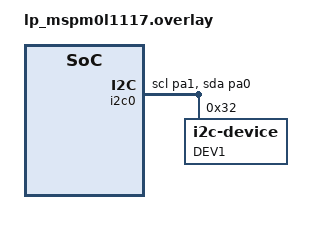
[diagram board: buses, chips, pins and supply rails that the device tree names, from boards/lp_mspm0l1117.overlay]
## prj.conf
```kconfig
# nothing here
CONFIG_I2C=y
CONFIG_GPIO=y
#CONFIG_I2C_CONTROLLER_TIMEOUT=y
```

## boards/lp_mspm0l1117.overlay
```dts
/ {
	aliases {
		i2c-0 = &i2c0;
		dev-1 = &dev1;
	};
};

&i2c0 {
	pinctrl-0 = <&i2c0_scl_pa1 &i2c0_sda_pa0>;
	pinctrl-names = "default";
	status = "okay";
	dev1: dev1@32 {
		compatible = "i2c-device";
		reg = <0x32>;
		label = "DEV1";
	};
};
```

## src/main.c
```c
/*
 * Copyright (c) 2012-2014 Wind River Systems, Inc.
 *
 * SPDX-License-Identifier: Apache-2.0
 */

#include <stdio.h>
#include <zephyr/drivers/i2c.h>
#include <zephyr/drivers/gpio.h>

uint8_t txPacket[] = {0xA0, 0xA1, 0xA2, 0xA3, 0xA4, 0xA5};
uint8_t rxPacket[6];
struct k_sem i2c_controller_sem;


#define SW0_NODE	DT_ALIAS(sw0)
#define I2C_NODE	DT_ALIAS(i2c_0)
#define DEV_1_NODE	DT_NODELABEL(dev1)
#define SLEEP_INTERVAL_MS 1


#if !DT_NODE_HAS_STATUS(SW0_NODE, okay)
#error "Unsupported board: sw0 devicetree alias is not defined"
#endif
static const struct gpio_dt_spec button = GPIO_DT_SPEC_GET_OR(SW0_NODE, gpios,
							      {0});
static struct gpio_callback button_cb_data;

void button_pressed(const struct device *dev, struct gpio_callback *cb,
		    uint32_t pins)
{
	printk("Button pressed at %" PRIu32 "\n", k_cycle_get_32());
	k_sem_give(&i2c_controller_sem);
}


struct i2c_msg msg_0 = {
	.buf = txPacket,
	.len = 1,
	.flags = I2C_MSG_WRITE
};

struct i2c_msg msg_1 = {
	.buf = &txPacket[1],
	.len = 3,
	.flags = I2C_MSG_WRITE
};

struct i2c_msg msg_2 = {
	.buf = rxPacket,
	.len = 1,
	.flags = I2C_MSG_READ
};

struct i2c_msg msg_3 = {
	.buf = &rxPacket[1],
	.len = 4,
	.flags = I2C_MSG_READ
};

#define LED0_NODE DT_ALIAS(led0)

static const struct i2c_dt_spec dev_1 = I2C_DT_SPEC_GET(DEV_1_NODE);
static const struct gpio_dt_spec led = GPIO_DT_SPEC_GET(LED0_NODE, gpios);


int main(void)
{
	int ret;
	printf("Hello TI! %s\n", CONFIG_BOARD_TARGET);

	k_sem_init(&i2c_controller_sem, 1, 1);

	if (!gpio_is_ready_dt(&led)) {
		return 0;
	}

	gpio_pin_configure_dt(&led, GPIO_OUTPUT_ACTIVE);

	if (!gpio_is_ready_dt(&button)) {
		printk("Error: button device %s is not ready\n",
		       button.port->name);
		return 0;
	}

	ret = gpio_pin_configure_dt(&button, GPIO_INPUT);
	if (ret != 0) {
		printk("Error %d: failed to configure %s pin %d\n",
		       ret, button.port->name, button.pin);
		return 0;
	}

	ret = gpio_pin_interrupt_configure_dt(&button,
					      GPIO_INT_EDGE_TO_ACTIVE);
	if (ret != 0) {
		printk("Error %d: failed to configure interrupt on %s pin %d\n",
			ret, button.port->name, button.pin);
		return 0;
	}

	gpio_init_callback(&button_cb_data, button_pressed, BIT(button.pin));
	gpio_add_callback(button.port, &button_cb_data);
	printk("Set up button at %s pin %d\n", button.port->name, button.pin);

	while(true){
		k_sem_take(&i2c_controller_sem, K_FOREVER);
		k_msleep(SLEEP_INTERVAL_MS);

		printf("transmission of single write...");
		gpio_pin_toggle_dt(&led);
		ret = i2c_write_dt(&dev_1, &txPacket[0], 1);
		if(ret == 0){
			printf("success!!\n");
		} else {
			printf("failed with %d\n", ret);
		}

		k_msleep(SLEEP_INTERVAL_MS);

		printf("transmission of single read... ");
		gpio_pin_toggle_dt(&led);
		ret = i2c_read_dt(&dev_1, &rxPacket[0], 1);
		if(ret == 0){
			printf("success!!\n");
		} else {
			printf("failed with %d\n", ret);
		}
		k_msleep(SLEEP_INTERVAL_MS);

		printf("transmission of burst read...");
		gpio_pin_toggle_dt(&led);
		ret = i2c_read_dt(&dev_1, &rxPacket[1], 5);
		if(ret == 0){
			printf("success!!\n");
		} else {
			printf("failed with %d\n", ret);
		}

		k_msleep(SLEEP_INTERVAL_MS);

		printf("transmission of burst write...");
		gpio_pin_toggle_dt(&led);
		ret = i2c_write_dt(&dev_1, &txPacket[1], 5);
		if(ret == 0){
			printf("success!!\n");
		} else {
			printf("failed with %d\n", ret);
		}
	}


	while(1)

	return 0;
}
```
